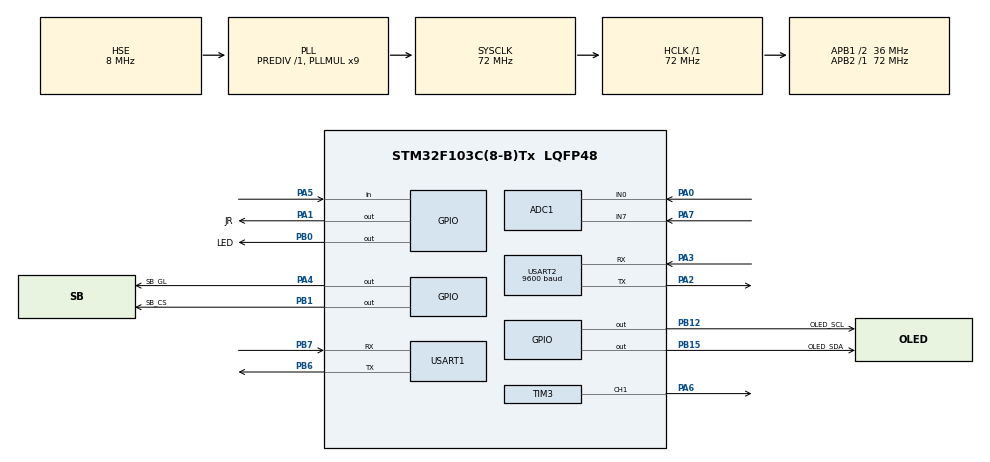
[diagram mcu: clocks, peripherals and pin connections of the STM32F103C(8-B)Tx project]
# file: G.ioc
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ADC1.Channel-0\#ChannelRegularConversion=ADC_CHANNEL_0
ADC1.Channel-1\#ChannelRegularConversion=ADC_CHANNEL_7
ADC1.ContinuousConvMode=DISABLE
ADC1.DiscontinuousConvMode=ENABLE
ADC1.NbrOfConversion=2
ADC1.NbrOfConversionFlag=1
ADC1.Rank-0\#ChannelRegularConversion=1
ADC1.Rank-1\#ChannelRegularConversion=2
ADC1.SamplingTime-0\#ChannelRegularConversion=ADC_SAMPLETIME_239CYCLES_5
ADC1.SamplingTime-1\#ChannelRegularConversion=ADC_SAMPLETIME_239CYCLES_5
ADC1.master=1
Mcu.Family=STM32F1
Mcu.Name=STM32F103C(8-B)Tx
Mcu.Package=LQFP48
NVIC.PriorityGroup=NVIC_PRIORITYGROUP_4
NVIC.USART1_IRQn=true\:0\:0\:false\:false\:true\:true\:true\:true
NVIC.USART2_IRQn=true\:0\:0\:false\:false\:true\:true\:true\:true
PA0-WKUP.Signal=ADCx_IN0
PA1.GPIO_Label=JR
PA1.GPIO_PuPd=GPIO_PULLUP
PA1.GPIO_Speed=GPIO_SPEED_FREQ_HIGH
PA1.PinState=GPIO_PIN_SET
PA1.Signal=GPIO_Output
PA13.Mode=Serial_Wire
PA13.Signal=SYS_JTMS-SWDIO
PA14.Mode=Serial_Wire
PA14.Signal=SYS_JTCK-SWCLK
PA2.Mode=Asynchronous
PA2.Signal=USART2_TX
PA3.Mode=Asynchronous
PA3.Signal=USART2_RX
PA4.GPIO_Label=SB_GL
PA4.GPIO_PuPd=GPIO_PULLDOWN
PA4.GPIO_Speed=GPIO_SPEED_FREQ_HIGH
PA4.Signal=GPIO_Output
PA5.Signal=GPIO_Input
PA6.Signal=S_TIM3_CH1
PA7.Signal=ADCx_IN7
PB0.GPIO_Label=LED
PB0.GPIO_PuPd=GPIO_PULLDOWN
PB0.GPIO_Speed=GPIO_SPEED_FREQ_HIGH
PB0.Signal=GPIO_Output
PB1.GPIO_Label=SB_CS
PB1.GPIO_PuPd=GPIO_PULLDOWN
PB1.GPIO_Speed=GPIO_SPEED_FREQ_HIGH
PB1.Signal=GPIO_Output
PB12.GPIO_Label=OLED_SCL
PB12.GPIO_ModeDefaultOutputPP=GPIO_MODE_OUTPUT_PP
PB12.GPIO_PuPd=GPIO_NOPULL
PB12.GPIO_Speed=GPIO_SPEED_FREQ_HIGH
PB12.PinState=GPIO_PIN_RESET
PB12.Signal=GPIO_Output
PB15.GPIO_Label=OLED_SDA
PB15.GPIO_ModeDefaultOutputPP=GPIO_MODE_OUTPUT_PP
PB15.GPIO_PuPd=GPIO_NOPULL
PB15.GPIO_Speed=GPIO_SPEED_FREQ_HIGH
PB15.PinState=GPIO_PIN_RESET
PB15.Signal=GPIO_Output
PB6.Mode=Asynchronous
PB6.Signal=USART1_TX
PB7.Mode=Asynchronous
PB7.Signal=USART1_RX
PD0-OSC_IN.Mode=HSE-External-Oscillator
PD0-OSC_IN.Signal=RCC_OSC_IN
PD1-OSC_OUT.Mode=HSE-External-Oscillator
PD1-OSC_OUT.Signal=RCC_OSC_OUT
ProjectManager.HeapSize=0x200
ProjectManager.StackSize=0x400
ProjectManager.TargetToolchain=MDK-ARM V5.32
RCC.ADCPresc=RCC_ADCPCLK2_DIV6
RCC.AHBFreq_Value=72000000
RCC.APB1CLKDivider=RCC_HCLK_DIV2
RCC.APB1Freq_Value=36000000
RCC.APB1TimFreq_Value=72000000
RCC.APB2Freq_Value=72000000
RCC.APB2TimFreq_Value=72000000
RCC.HCLKFreq_Value=72000000
RCC.PLLMUL=RCC_PLL_MUL9
RCC.PLLSourceVirtual=RCC_PLLSOURCE_HSE
RCC.SYSCLKFreq_VALUE=72000000
RCC.SYSCLKSource=RCC_SYSCLKSOURCE_PLLCLK
RCC.USBFreq_Value=72000000
SH.ADCx_IN0.0=ADC1_IN0,IN0
SH.ADCx_IN7.0=ADC1_IN7,IN7
SH.S_TIM3_CH1.0=TIM3_CH1,PWM Generation1 CH1
TIM3.AutoReloadPreload=TIM_AUTORELOAD_PRELOAD_ENABLE
TIM3.Channel-PWM\ Generation1\ CH1=TIM_CHANNEL_1
TIM3.Period=19999
TIM3.Prescaler=71
TIM3.Pulse-PWM\ Generation1\ CH1=440
USART1.VirtualMode=VM_ASYNC
USART2.BaudRate=9600
USART2.VirtualMode=VM_ASYNC
VP_TIM3_VS_ClockSourceINT.Mode=Internal
board=custom

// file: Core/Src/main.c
/* USER CODE BEGIN Header */
/**
  ******************************************************************************
  * @file           : main.c
  * @brief          : Main program body
  ******************************************************************************
  * @attention
  *
  * Copyright (c) 2025 STMicroelectronics.
  * All rights reserved.
  *
  * This software is licensed under terms that can be found in the LICENSE file
  * in the root directory of this software component.
  * If no LICENSE file comes with this software, it is provided AS-IS.
  *
  ******************************************************************************
  */
/* USER CODE END Header */
#include "main.h"
#include "adc.h"
#include "tim.h"
#include "usart.h"
#include "gpio.h"
#include "oled.h"
#include "sg90.h"
#include "bt04a.h"
#include "ds18b20.h"
#include "stdio.h"
#include "string.h"

/* USER CODE BEGIN PV */
void OLED_Poce(void);
void DATA_Poce(void);
/* USER CODE END PV */

void SystemClock_Config(void);

/* USER CODE BEGIN 0 */
extern float ADC_VAL[2];
uint8_t yw_flag = 0;
uint8_t oled[100] ={0};
short temp = 0;
//投食舵机运行标志位
uint16_t time_ts_ms = 0;
uint8_t time_ts_s = 5;
uint8_t ts_flag = 0;
//加热棒标志位
uint8_t jr_flag = 0;
uint8_t jr_max = 28;
uint8_t jr_min = 24;
//定时抽水逻辑
uint16_t time_gl_ms = 0;
uint8_t time_gl_s = 10;
uint8_t gl_flag = 0;
//过滤水泵标志位
uint8_t cs_flag = 0;
//模式选择标志位
uint8_t mode = 0;
/* USER CODE END 0 */

int main(void)
{

  /* MCU Configuration--------------------------------------------------------*/

  /* Reset of all peripherals, Initializes the Flash interface and the Systick. */
  HAL_Init();

  /* Configure the system clock */
  SystemClock_Config();

  /* Initialize all configured peripherals */
  MX_GPIO_Init();
  MX_ADC1_Init();
  MX_TIM3_Init();
  MX_USART1_UART_Init();
  MX_USART2_UART_Init();
	HAL_TIM_PWM_Start(&htim3,TIM_CHANNEL_1);
	OLED_Init();
	BT04A_Init();
	DS18B20_Init();
	OLED_Clear();
  /* USER CODE BEGIN 2 */
	HAL_GPIO_WritePin(GPIOA,GPIO_PIN_1,GPIO_PIN_RESET);
  /* USER CODE END 2 */

  /* Infinite loop */
  while (1)
  {
		DATA_Poce();
		OLED_Poce();
  }
}

void SystemClock_Config(void)
{
  RCC_OscInitTypeDef RCC_OscInitStruct = {0};
  RCC_ClkInitTypeDef RCC_ClkInitStruct = {0};
  RCC_PeriphCLKInitTypeDef PeriphClkInit = {0};

  /** Initializes the RCC Oscillators according to the specified parameters
  * in the RCC_OscInitTypeDef structure.
  */
  RCC_OscInitStruct.OscillatorType = RCC_OSCILLATORTYPE_HSE;
  RCC_OscInitStruct.HSEState = RCC_HSE_ON;
  RCC_OscInitStruct.HSEPredivValue = RCC_HSE_PREDIV_DIV1;
  RCC_OscInitStruct.HSIState = RCC_HSI_ON;
  RCC_OscInitStruct.PLL.PLLState = RCC_PLL_ON;
  RCC_OscInitStruct.PLL.PLLSource = RCC_PLLSOURCE_HSE;
  RCC_OscInitStruct.PLL.PLLMUL = RCC_PLL_MUL9;
  if (HAL_RCC_OscConfig(&RCC_OscInitStruct) != HAL_OK)
  {
    Error_Handler();
  }

  /** Initializes the CPU, AHB and APB buses clocks
  */
  RCC_ClkInitStruct.ClockType = RCC_CLOCKTYPE_HCLK|RCC_CLOCKTYPE_SYSCLK
                              |RCC_CLOCKTYPE_PCLK1|RCC_CLOCKTYPE_PCLK2;
  RCC_ClkInitStruct.SYSCLKSource = RCC_SYSCLKSOURCE_PLLCLK;
  RCC_ClkInitStruct.AHBCLKDivider = RCC_SYSCLK_DIV1;
  RCC_ClkInitStruct.APB1CLKDivider = RCC_HCLK_DIV2;
  RCC_ClkInitStruct.APB2CLKDivider = RCC_HCLK_DIV1;

  if (HAL_RCC_ClockConfig(&RCC_ClkInitStruct, FLASH_LATENCY_2) != HAL_OK)
  {
    Error_Handler();
  }
  PeriphClkInit.PeriphClockSelection = RCC_PERIPHCLK_ADC;
  PeriphClkInit.AdcClockSelection = RCC_ADCPCLK2_DIV6;
  if (HAL_RCCEx_PeriphCLKConfig(&PeriphClkInit) != HAL_OK)
  {
    Error_Handler();
  }
}

/* USER CODE BEGIN 4 */
void OLED_Poce(void)
{
	//标题
	OLED_ShowChinese(32,0,7,16,1);
	OLED_ShowChinese(48,0,8,16,1);
	OLED_ShowChinese(64,0,19,16,1);
	OLED_ShowChinese(80,0,20,16,1);
	//模式
	if(mode == 0)
	{
		OLED_ShowChinese(0,0,4,16,1);
		OLED_ShowChinese(16,0,5,16,1);
	}
	else
	{
		OLED_ShowChinese(0,0,6,16,1);
		OLED_ShowChinese(16,0,5,16,1);

	}
	//温度与TDS值和当前水位状态
	sprintf((char *)oled,"%.1f",temp*0.1f);
	OLED_ShowString(0,16,oled,16,1);
	sprintf((char *)oled,"%d",(int)ADC_VAL[0]);
	OLED_ShowString(48,16,oled,16,1);
	if(yw_flag == 0)
	{
		OLED_ShowChinese(96,16,23,16,1);
		OLED_ShowChinese(112,16,28,16,1);
	}
	else
	{
		OLED_ShowChinese(96,16,15,16,1);
		OLED_ShowChinese(112,16,16,16,1);
	}
	//抽水水泵跟过滤水泵
	//抽水
	OLED_ShowChinese(0,32,21,16,1);
	OLED_ShowChinese(16,32,22,16,1);
	OLED_ShowChar(32,32,':',16,1);
	if(cs_flag == 0)
		OLED_ShowChinese(40,32,27,16,1);
	else
		OLED_ShowChinese(40,32,26,16,1);
	//过滤
	OLED_ShowChinese(72,32,23,16,1);
	OLED_ShowChinese(88,32,24,16,1);
	OLED_ShowChar(104,32,':',16,1);
	if(gl_flag == 0)
		OLED_ShowChinese(112,32,27,16,1);
	else
		OLED_ShowChinese(112,32,26,16,1);
	//投食舵机定时启动，5s一次投食显示倒计时,抽水定时启动，10s一次投食显示倒计时
	//时间
	OLED_ShowNum(0,48,time_ts_s,2,16,1);
	OLED_ShowNum(24,48,time_gl_s,2,16,1);
	//舵机状态
	if(ts_flag == 0)
	{
		OLED_ShowChinese(48,48,32,16,1);
		OLED_ShowChinese(64,48,33,16,1);
	}
	else
	{
		OLED_ShowChinese(48,48,30,16,1);
		OLED_ShowChinese(64,48,31,16,1);
	}
	//加热棒运行情况
	if(jr_flag == 0)
	{
		OLED_ShowChinese(96,48,32,16,1);
		OLED_ShowChinese(112,48,33,16,1);
	}
	else
	{
		OLED_ShowChinese(96,48,34,16,1);
		OLED_ShowChinese(112,48,35,16,1);
	}
}

void DATA_Poce(void)
{
	adc_read();
	BT04A_DATA_Pro();
	temp = DS18B20_Get_Temp();
	if(mode == 0)
	{
		if(ADC_VAL[1] > 0.04f)//水位正常关闭水泵
		{
			yw_flag = 1;
			cs_flag = 0;
			HAL_GPIO_WritePin(GPIOB,GPIO_PIN_1,GPIO_PIN_RESET);
		}
		else//水位过低打开抽水水泵
		{
			yw_flag = 0;
			cs_flag = 1;
			HAL_GPIO_WritePin(GPIOB,GPIO_PIN_1,GPIO_PIN_SET);
		}
		//投食逻辑
		if(time_ts_s == 0)
		{
			Servo_SetAngle(&htim3,90);
			HAL_Delay(300);
			Servo_SetAngle(&htim3,0);
			time_ts_ms = 0;
			time_ts_s = 5;
			ts_flag = 0;
		}
		//加热逻辑
		if(temp < jr_min)
		{
			HAL_GPIO_WritePin(GPIOA,GPIO_PIN_1,GPIO_PIN_SET);
			jr_flag = 1;
		}
		else if(temp >= jr_max)
		{
			HAL_GPIO_WritePin(GPIOA,GPIO_PIN_1,GPIO_PIN_RESET);
			jr_flag = 0;
		}
		//TDS逻辑,超过最大值时LED亮，并执行过滤动作
		if((int)ADC_VAL[0] > 10)
		{
			HAL_GPIO_WritePin(GPIOB,GPIO_PIN_0,GPIO_PIN_SET);
			if(gl_flag == 0)
				HAL_GPIO_WritePin(GPIOA,GPIO_PIN_4,GPIO_PIN_SET);
			gl_flag = 1;
		}
		else
		{
			HAL_GPIO_WritePin(GPIOB,GPIO_PIN_0,GPIO_PIN_RESET);
			if(gl_flag == 1)
				HAL_GPIO_WritePin(GPIOA,GPIO_PIN_4,GPIO_PIN_RESET);
			gl_flag = 0;
		}
		//定时过滤逻辑
		if(time_gl_s == 0)
		{
			HAL_GPIO_WritePin(GPIOA,GPIO_PIN_4,GPIO_PIN_SET);
			time_gl_ms = 0;
			time_gl_s = 10;
			gl_flag = 1;
		}
		else
		{
			HAL_GPIO_WritePin(GPIOA,GPIO_PIN_4,GPIO_PIN_RESET);
			gl_flag = 0;
		}
	}
}
/* USER CODE END 4 */

void Error_Handler(void)
{
  __disable_irq();
  while (1)
  {
  }
}
